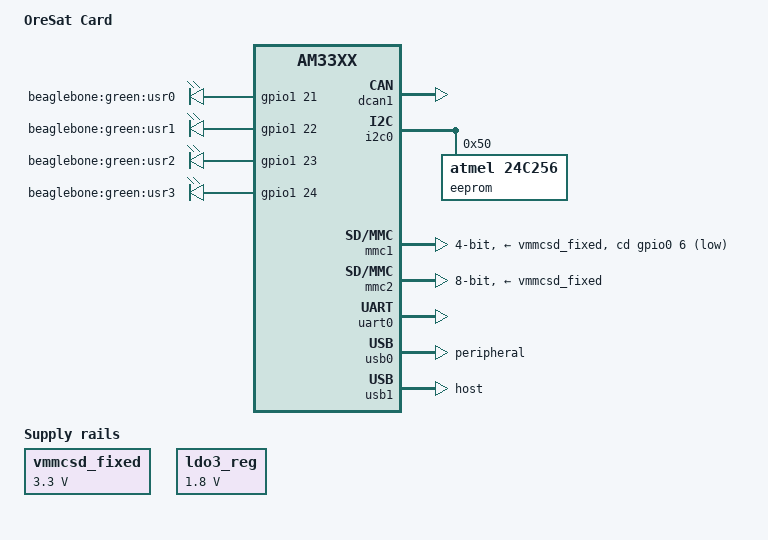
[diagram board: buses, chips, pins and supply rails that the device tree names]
/*
Device tree for OreSat cards.

Only configures pins for the eMMC, SD card, UART0, USB0, I2C0, ADCs, standard
LED pins, and the power regulator.

All other pins are configured to their gpio mode and set to a input with a
pulldown.
*/

/dts-v1/;

#include "am33xx.dtsi"
#include "am335x-osd335x-common.dtsi"

/ {
  model = "OreSat Card";
  compatible = "ti,am33xx";

  chosen {
    stdout-path = &uart0;
    base_dtb = "am335x-osd3358-min.dts";
    base_dtb_timestamp = __TIMESTAMP__;
  };

  leds {
    pinctrl-names = "default";
    pinctrl-0 = <&user_leds_s0>;
    compatible = "gpio-leds";

    usr0 {
      label = "beaglebone:green:usr0";
      gpios = <&gpio1 21 GPIO_ACTIVE_HIGH>;
      linux,default-trigger = "heartbeat";
      default-state = "off";
    };

    usr1 {
      label = "beaglebone:green:usr1";
      gpios = <&gpio1 22 GPIO_ACTIVE_HIGH>;
      linux,default-trigger = "mmc0";
      default-state = "off";
    };

    usr2 {
      label = "beaglebone:green:usr2";
      gpios = <&gpio1 23 GPIO_ACTIVE_HIGH>;
      linux,default-trigger = "cpu0";
      default-state = "off";
    };

    usr3 {
      label = "beaglebone:green:usr3";
      gpios = <&gpio1 24 GPIO_ACTIVE_HIGH>;
      linux,default-trigger = "mmc1";
      default-state = "off";
    };
  };

  vmmcsd_fixed: fixedregulator0 {
    compatible = "regulator-fixed";
    regulator-name = "vmmcsd_fixed";
    regulator-min-microvolt = <3300000>;
    regulator-max-microvolt = <3300000>;
  };
};

&am33xx_pinmux {
  user_leds_s0: user-leds-s0 {
    pinctrl-single,pins = <
      AM33XX_PADCONF(AM335X_PIN_GPMC_A5, PIN_OUTPUT_PULLDOWN, MUX_MODE7) /* gpio1_21 / usr0 */
      AM33XX_PADCONF(AM335X_PIN_GPMC_A6, PIN_OUTPUT_PULLUP, MUX_MODE7) /* gpio1_22 / usr1 */
      AM33XX_PADCONF(AM335X_PIN_GPMC_A7, PIN_OUTPUT_PULLDOWN, MUX_MODE7) /* gpio1_23 / usr2 */
      AM33XX_PADCONF(AM335X_PIN_GPMC_A8, PIN_OUTPUT_PULLUP, MUX_MODE7) /* gpio1_24 / usr3 */
    >;
  };

  uart0_pins: pinmux-uart0-pins {
    pinctrl-single,pins = <
      AM33XX_PADCONF(AM335X_PIN_UART0_RXD, PIN_INPUT_PULLUP, MUX_MODE0) /* uart0_rxd */
      AM33XX_PADCONF(AM335X_PIN_UART0_TXD, PIN_OUTPUT_PULLDOWN, MUX_MODE0) /* uart0_txd */
    >;
  };

  mmc1_pins: pinmux-mmc1-pins {
    pinctrl-single,pins = <
      AM33XX_PADCONF(AM335X_PIN_SPI0_CS1, PIN_INPUT, MUX_MODE7) /* gpio2 / mmc0_cd */
      AM33XX_PADCONF(AM335X_PIN_MMC0_DAT0, PIN_INPUT_PULLUP, MUX_MODE0) /* mmc0_dat0 */
      AM33XX_PADCONF(AM335X_PIN_MMC0_DAT1, PIN_INPUT_PULLUP, MUX_MODE0) /* mmc0_dat1 */
      AM33XX_PADCONF(AM335X_PIN_MMC0_DAT2, PIN_INPUT_PULLUP, MUX_MODE0) /* mmc0_dat2 */
      AM33XX_PADCONF(AM335X_PIN_MMC0_DAT3, PIN_INPUT_PULLUP, MUX_MODE0) /* mmc0_dat3 */
      AM33XX_PADCONF(AM335X_PIN_MMC0_CMD, PIN_INPUT_PULLUP, MUX_MODE0) /* mmc0_cmd */
      AM33XX_PADCONF(AM335X_PIN_MMC0_CLK, PIN_INPUT_PULLUP, MUX_MODE0) /* mmc0_clk */
    >;
  };

  emmc_pins: pinmux-emmc-pins {
    pinctrl-single,pins = <
      AM33XX_PADCONF(AM335X_PIN_GPMC_CSN1, PIN_INPUT_PULLUP, MUX_MODE2) /* mmc1_clk */
      AM33XX_PADCONF(AM335X_PIN_GPMC_CSN2, PIN_INPUT_PULLUP, MUX_MODE2) /* mmc1_cmd */
      AM33XX_PADCONF(AM335X_PIN_GPMC_AD0, PIN_INPUT_PULLUP, MUX_MODE1) /* mmc1_dat0 */
      AM33XX_PADCONF(AM335X_PIN_GPMC_AD1, PIN_INPUT_PULLUP, MUX_MODE1) /* mmc1_dat1 */
      AM33XX_PADCONF(AM335X_PIN_GPMC_AD2, PIN_INPUT_PULLUP, MUX_MODE1) /* mmc1_dat2 */
      AM33XX_PADCONF(AM335X_PIN_GPMC_AD3, PIN_INPUT_PULLUP, MUX_MODE1) /* mmc1_dat3 */
      AM33XX_PADCONF(AM335X_PIN_GPMC_AD4, PIN_INPUT_PULLUP, MUX_MODE1) /* mmc1_dat4 */
      AM33XX_PADCONF(AM335X_PIN_GPMC_AD5, PIN_INPUT_PULLUP, MUX_MODE1) /* mmc1_dat5 */
      AM33XX_PADCONF(AM335X_PIN_GPMC_AD6, PIN_INPUT_PULLUP, MUX_MODE1) /* mmc1_dat6 */
      AM33XX_PADCONF(AM335X_PIN_GPMC_AD7, PIN_INPUT_PULLUP, MUX_MODE1) /* mmc1_dat7 */
    >;
  };

  dcan1_pins: pinmux-dcan1-pins {
    pinctrl-single,pins = <
      AM33XX_PADCONF(AM335X_PIN_UART1_TXD, PIN_INPUT_PULLUP, MUX_MODE2) /* dcan1_rx */
      AM33XX_PADCONF(AM335X_PIN_UART1_RXD, PIN_OUTPUT_PULLDOWN, MUX_MODE2) /* dcan1_tx */
    >;
  };

#define AM33XX_IOPAD_UNUSED(pin) AM33XX_IOPAD(pin, PIN_INPUT | MUX_MODE7)

  /*
  Set all these pins to gpio input with pulldown.
  Device tree overlay(s) can change them mode needed for the OreSat card.
  */
  gpio_pins: pinmux-gpio-pins {
    pinctrl-single,pins = <
      /* SIP C left */
      AM33XX_IOPAD_UNUSED(AM335X_PIN_UART0_CTSN) 
      AM33XX_IOPAD_UNUSED(AM335X_PIN_UART0_RTSN) 
      AM33XX_IOPAD_UNUSED(AM335X_PIN_UART1_CTSN) 
      AM33XX_IOPAD_UNUSED(AM335X_PIN_UART1_RTSN) 
      AM33XX_IOPAD_UNUSED(AM335X_PIN_SPI0_SCLK) 
      AM33XX_IOPAD_UNUSED(AM335X_PIN_SPI0_D0) 
      AM33XX_IOPAD_UNUSED(AM335X_PIN_SPI0_D1) 
      AM33XX_IOPAD_UNUSED(AM335X_PIN_SPI0_CS0) 
      AM33XX_IOPAD_UNUSED(AM335X_PIN_MCASP0_ACLKX) 
      AM33XX_IOPAD_UNUSED(AM335X_PIN_MCASP0_FSX) 
      AM33XX_IOPAD_UNUSED(AM335X_PIN_MCASP0_AXR0) 
      AM33XX_IOPAD_UNUSED(AM335X_PIN_MCASP0_AHCLKR) 
      AM33XX_IOPAD_UNUSED(AM335X_PIN_MCASP0_ACLKR) 
      AM33XX_IOPAD_UNUSED(AM335X_PIN_MCASP0_FSR) 
      AM33XX_IOPAD_UNUSED(AM335X_PIN_MCASP0_AXR1) 
      AM33XX_IOPAD_UNUSED(AM335X_PIN_MCASP0_AHCLKX) 
      AM33XX_IOPAD_UNUSED(AM335X_PIN_XDMA_EVENT_INTR0) 
      AM33XX_IOPAD_UNUSED(AM335X_PIN_XDMA_EVENT_INTR1) 
      AM33XX_IOPAD_UNUSED(AM335X_PIN_ECAP0_IN_PWM0_OUT) 
      /* SIP C right */
      AM33XX_IOPAD_UNUSED(AM335X_PIN_GPMC_CLK) 
      AM33XX_IOPAD_UNUSED(AM335X_PIN_GPMC_A0) 
      AM33XX_IOPAD_UNUSED(AM335X_PIN_GPMC_A1) 
      AM33XX_IOPAD_UNUSED(AM335X_PIN_GPMC_A2) 
      AM33XX_IOPAD_UNUSED(AM335X_PIN_GPMC_A3) 
      AM33XX_IOPAD_UNUSED(AM335X_PIN_GPMC_A9) 
      AM33XX_IOPAD_UNUSED(AM335X_PIN_GPMC_A10) 
      AM33XX_IOPAD_UNUSED(AM335X_PIN_GPMC_A11) 
      AM33XX_IOPAD_UNUSED(AM335X_PIN_GPMC_BEN1) 
      AM33XX_IOPAD_UNUSED(AM335X_PIN_GPMC_WAIT0) 
      AM33XX_IOPAD_UNUSED(AM335X_PIN_GPMC_WPN) 
      AM33XX_IOPAD_UNUSED(AM335X_PIN_GPMC_CSN0) 
      AM33XX_IOPAD_UNUSED(AM335X_PIN_GPMC_CSN3)
      AM33XX_IOPAD_UNUSED(AM335X_PIN_GPMC_AD8)
      AM33XX_IOPAD_UNUSED(AM335X_PIN_GPMC_AD9)
      AM33XX_IOPAD_UNUSED(AM335X_PIN_GPMC_AD10)
      AM33XX_IOPAD_UNUSED(AM335X_PIN_GPMC_AD11)
      AM33XX_IOPAD_UNUSED(AM335X_PIN_GPMC_AD12)
      AM33XX_IOPAD_UNUSED(AM335X_PIN_GPMC_AD13)
      AM33XX_IOPAD_UNUSED(AM335X_PIN_GPMC_AD14)
      AM33XX_IOPAD_UNUSED(AM335X_PIN_GPMC_AD15)
      AM33XX_IOPAD_UNUSED(AM335X_PIN_GPMC_ADVN_ALE)
      AM33XX_IOPAD_UNUSED(AM335X_PIN_GPMC_BEN0_CLE)
      AM33XX_IOPAD_UNUSED(AM335X_PIN_GPMC_WEN)
      AM33XX_IOPAD_UNUSED(AM335X_PIN_GPMC_OEN_REN)
      /* SIP D left */
      AM33XX_IOPAD_UNUSED(AM335X_PIN_MII1_TX_CLK)
      AM33XX_IOPAD_UNUSED(AM335X_PIN_MII1_TXD0)
      AM33XX_IOPAD_UNUSED(AM335X_PIN_MII1_TXD1)
      AM33XX_IOPAD_UNUSED(AM335X_PIN_MII1_TXD2)
      AM33XX_IOPAD_UNUSED(AM335X_PIN_MII1_TXD3)
      AM33XX_IOPAD_UNUSED(AM335X_PIN_MII1_TX_EN)
      AM33XX_IOPAD_UNUSED(AM335X_PIN_MII1_CRS)
      AM33XX_IOPAD_UNUSED(AM335X_PIN_MII1_COL)
      AM33XX_IOPAD_UNUSED(AM335X_PIN_MII1_RX_CLK)
      AM33XX_IOPAD_UNUSED(AM335X_PIN_MII1_RXD0)
      AM33XX_IOPAD_UNUSED(AM335X_PIN_MII1_RXD1)
      AM33XX_IOPAD_UNUSED(AM335X_PIN_MII1_RXD2)
      AM33XX_IOPAD_UNUSED(AM335X_PIN_MII1_RXD3)
      AM33XX_IOPAD_UNUSED(AM335X_PIN_MII1_RX_ER)
      AM33XX_IOPAD_UNUSED(AM335X_PIN_MII1_RX_DV)
      AM33XX_IOPAD_UNUSED(AM335X_PIN_RMII1_REF_CLK)
      AM33XX_IOPAD_UNUSED(AM335X_PIN_MDC)
      AM33XX_IOPAD_UNUSED(AM335X_PIN_MDIO)
      /* SIP D right */
      AM33XX_IOPAD_UNUSED(AM335X_PIN_LCD_PCLK)
      AM33XX_IOPAD_UNUSED(AM335X_PIN_LCD_VSYNC)
      AM33XX_IOPAD_UNUSED(AM335X_PIN_LCD_HSYNC)
      AM33XX_IOPAD_UNUSED(AM335X_PIN_LCD_AC_BIAS_EN)
    >;
  };
};

&dcan1 {
  status = "okay";
  pinctrl-names = "default";
  pinctrl-0 = <&dcan1_pins>;
};

&ldo3_reg {
  regulator-min-microvolt = <1800000>;
  regulator-max-microvolt = <1800000>;
  regulator-always-on;
};

&i2c0 {
  eeprom: eeprom@50 {
    compatible = "atmel,24c256";
    reg = <0x50>;
  };
};

&mmc1 {
  status = "okay";
  vmmc-supply = <&vmmcsd_fixed>;
  bus-width = <0x4>;
  pinctrl-names = "default";
  pinctrl-0 = <&mmc1_pins>;
  cd-gpios = <&gpio0 6 GPIO_ACTIVE_LOW>;
};

&mmc2 {
  vmmc-supply = <&vmmcsd_fixed>;
  pinctrl-names = "default";
  pinctrl-0 = <&emmc_pins>;
  bus-width = <8>;
  status = "okay";
};

&rtc {
  system-power-controller;
};

/*
This is needed for cards that use spi0.
It should stay disabled by default for cards that do not need spi0.
*/
&spi0 {
  #address-cells = <1>;
  #size-cells = <0>;
  status = "disabled";

  channel@0 {
    #address-cells = <1>;
    #size-cells = <0>;
    compatible = "rohm,dh2228fv";
    symlink = "bone/spi/0.0";
    reg = <0>;
    spi-max-frequency = <24000000>;
    status = "disabled";
  };

  channel@1 {
    #address-cells = <1>;
    #size-cells = <0>;
    compatible = "rohm,dh2228fv";
    symlink = "bone/spi/0.1";
    reg = <1>;
    spi-max-frequency = <24000000>;
    status = "disabled";
  };
};

/*
This is needed for cards that use spi1.
It should stay disabled by default for cards that do not need spi1.
*/
&spi1 {
  #address-cells = <1>;
  #size-cells = <0>;
  status = "disabled";

  channel@0 {
    #address-cells = <1>;
    #size-cells = <0>;
    compatible = "rohm,dh2228fv";
    symlink = "bone/spi/1.0";
    reg = <0>;
    spi-max-frequency = <24000000>;
    status = "disabled";
  };

  channel@1 {
    #address-cells = <1>;
    #size-cells = <0>;
    compatible = "rohm,dh2228fv";
    symlink = "bone/spi/1.1";
    reg = <1>;
    spi-max-frequency = <24000000>;
    status = "disabled";
  };
};

&uart0 {
  pinctrl-names = "default";
  pinctrl-0 = <&uart0_pins>;
  status = "okay";
  symlink = "bone/uart/0";
};

&usb0 {
  dr_mode = "peripheral";
  interrupts-extended = <&intc 18 &tps 0>;
  interrupt-names = "mc", "vbus";
};

&usb1 {
  dr_mode = "host";
};
